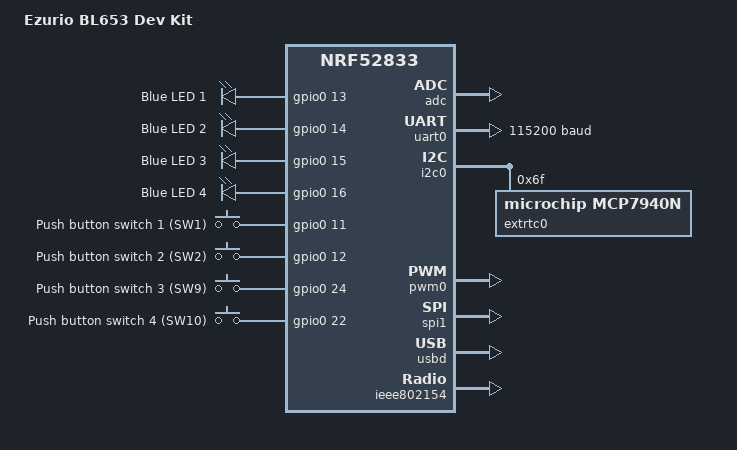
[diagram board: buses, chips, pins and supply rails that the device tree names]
/*
 * Copyright (c) 2020 Laird Connectivity
 * Copyright (c) 2023 Nordic Semiconductor ASA
 * Copyright (c) 2024 Ezurio
 *
 * SPDX-License-Identifier: Apache-2.0
 */

/dts-v1/;
#include <nordic/nrf52833_qiaa.dtsi>
#include "bl653_dvk-pinctrl.dtsi"
#include <zephyr/dt-bindings/input/input-event-codes.h>

/ {
	compatible = "ezurio,bl653_dvk";
	model = "Ezurio BL653 Dev Kit";

	chosen {
		zephyr,console = &uart0;
		zephyr,shell-uart = &uart0;
		zephyr,uart-mcumgr = &uart0;
		zephyr,bt-mon-uart = &uart0;
		zephyr,bt-c2h-uart = &uart0;
		zephyr,sram = &sram0;
		zephyr,flash = &flash0;
		zephyr,code-partition = &slot0_partition;
		zephyr,ieee802154 = &ieee802154;
	};

	leds {
		compatible = "gpio-leds";

		led1: led_1 {
			gpios = <&gpio0 13 GPIO_ACTIVE_HIGH>;
			label = "Blue LED 1";
		};

		led2: led_2 {
			gpios = <&gpio0 14 GPIO_ACTIVE_HIGH>;
			label = "Blue LED 2";
		};

		led3: led_3 {
			gpios = <&gpio0 15 GPIO_ACTIVE_HIGH>;
			label = "Blue LED 3";
		};

		led4: led_4 {
			gpios = <&gpio0 16 GPIO_ACTIVE_HIGH>;
			label = "Blue LED 4";
		};
	};

	buttons {
		compatible = "gpio-keys";

		button1: button_1 {
			gpios = <&gpio0 11 GPIO_PULL_UP>;
			label = "Push button switch 1 (SW1)";
			zephyr,code = <INPUT_KEY_0>;
		};

		button2: button_2 {
			gpios = <&gpio0 12 GPIO_PULL_UP>;
			label = "Push button switch 2 (SW2)";
			zephyr,code = <INPUT_KEY_1>;
		};

		button3: button_3 {
			gpios = <&gpio0 24 GPIO_PULL_UP>;
			label = "Push button switch 3 (SW9)";
			zephyr,code = <INPUT_KEY_2>;
		};

		button4: button_4 {
			gpios = <&gpio0 22 GPIO_PULL_UP>;
			label = "Push button switch 4 (SW10)";
			zephyr,code = <INPUT_KEY_3>;
		};
	};

	/* These aliases are provided for compatibility with samples */
	aliases {
		led0 = &led1;
		led1 = &led2;
		led2 = &led3;
		led3 = &led4;
		sw0 = &button1;
		sw1 = &button2;
		sw2 = &button3;
		sw3 = &button4;
		mcuboot-button0 = &button1;
		mcuboot-led0 = &led1;
		watchdog0 = &wdt0;
		bbram0 = &extrtc0;
	};
};

&reg1 {
	regulator-initial-mode = <NRF5X_REG_MODE_DCDC>;
};

&adc {
	status = "okay";
};

&uicr {
	gpio-as-nreset;
};

&gpiote {
	status = "okay";
};

&gpio0 {
	status = "okay";
};

&gpio1 {
	status = "okay";
};

&uart0 {
	compatible = "nordic,nrf-uart";
	current-speed = <115200>;
	pinctrl-0 = <&uart0_default>;
	pinctrl-1 = <&uart0_sleep>;
	pinctrl-names = "default", "sleep";
	status = "okay";
};

&i2c0 {
	compatible = "nordic,nrf-twi";

	pinctrl-0 = <&i2c0_default>;
	pinctrl-1 = <&i2c0_sleep>;
	pinctrl-names = "default", "sleep";
	status = "okay";

	dac0: mcp4725@60 {
		/* MCP4725 not populated at factory */
		compatible = "microchip,mcp4725";
		reg = <0x60>;
		#io-channel-cells = <1>;
		status = "disabled";
	};

	extrtc0: mcp7940n@6f {
		compatible = "microchip,mcp7940n";
		reg = <0x6f>;
		status = "okay";
	};
};

&pwm0 {
	pinctrl-0 = <&pwm0_default>;
	pinctrl-1 = <&pwm0_sleep>;
	pinctrl-names = "default", "sleep";
	status = "okay";
};

&spi1 {
	compatible = "nordic,nrf-spi";
	cs-gpios = <&gpio0 23 GPIO_ACTIVE_LOW>;
	pinctrl-0 = <&spi1_default>;
	pinctrl-1 = <&spi1_sleep>;
	pinctrl-names = "default", "sleep";
	status = "okay";
};

&flash0 {
	partitions {
		compatible = "fixed-partitions";
		#address-cells = <1>;
		#size-cells = <1>;

		boot_partition: partition@0 {
			reg = <0x00000000 0xC000>;
			label = "mcuboot";
		};

		slot0_partition: partition@c000 {
			reg = <0x0000C000 0x32000>;
			label = "image-0";
		};

		slot1_partition: partition@3e000 {
			reg = <0x0003E000 0x32000>;
			label = "image-1";
		};

		scratch_partition: partition@70000 {
			reg = <0x00070000 0xA000>;
			label = "image-scratch";
		};

		storage_partition: partition@7a000 {
			reg = <0x0007A000 0x00006000>;
			label = "storage";
		};
	};
};

zephyr_udc0: &usbd {
	compatible = "nordic,nrf-usbd";
	status = "okay";
};

&ieee802154 {
	status = "okay";
};
